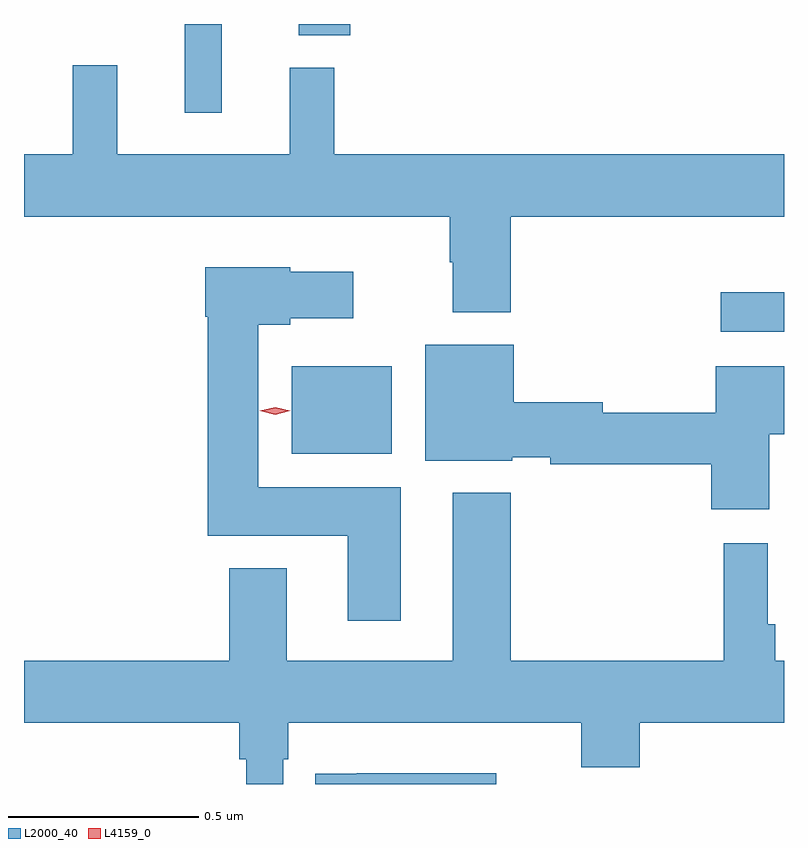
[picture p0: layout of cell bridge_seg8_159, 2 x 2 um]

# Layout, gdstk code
import gdstk
lib = gdstk.Library(unit=1e-6, precision=1e-09)
def R(c, l, rs):  # rectangles x0, y0, x1, y1
    for r in rs: c.add(gdstk.rectangle(r[:2], r[2:], *l))
def P(c, l, *ps):  # polygons
    for p in ps: c.add(gdstk.Polygon(p, *l))
L2000_40 = (2000, 40)
L4159_0 = (4159, 0)

bridge_seg8_159 = lib.new_cell('bridge_seg8_159')
R(bridge_seg8_159, L2000_40, [(552.518,1133.192,552.781,1133.422), (553.647,1133.513,553.813,1133.617), (552.236,1134.09,552.333,1134.323), (552.536,1134.293,552.671,1134.323)])
P(bridge_seg8_159, L2000_40, [(553.094,1133.816),(553.813,1133.816),(553.813,1133.98),(552.629,1133.98),(552.629,1134.208),(552.512,1134.208),(552.512,1133.98),(552.059,1133.98),(552.059,1134.214),(551.941,1134.214),(551.941,1133.98),(551.813,1133.98),(551.813,1133.816),(552.934,1133.816),(552.934,1133.696),(552.941,1133.696),(552.941,1133.564),(553.094,1133.564)],
  [(552.805,1133.104),(552.43,1133.104),(552.43,1133.531),(552.513,1133.531),(552.513,1133.549),(552.679,1133.549),(552.679,1133.671),(552.513,1133.671),(552.513,1133.683),(552.29,1133.683),(552.29,1133.553),(552.296,1133.553),(552.296,1132.976),(552.665,1132.976),(552.665,1132.752),(552.805,1132.752)],
  [(553.774,1133.243),(553.813,1133.243),(553.813,1133.422),(553.634,1133.422),(553.634,1133.3),(553.336,1133.3),(553.336,1133.327),(553.102,1133.327),(553.102,1133.479),(552.869,1133.479),(552.869,1133.174),(553.098,1133.174),(553.098,1133.183),(553.198,1133.183),(553.198,1133.164),(553.622,1133.164),(553.622,1133.046),(553.774,1133.046)],
  [(552.495,1132.388),(552.509,1132.388),(552.509,1132.484),(553.28,1132.484),(553.28,1132.367),(553.433,1132.367),(553.433,1132.484),(553.813,1132.484),(553.813,1132.648),(553.79,1132.648),(553.79,1132.744),(553.77,1132.744),(553.77,1132.957),(553.654,1132.957),(553.654,1132.648),(553.094,1132.648),(553.094,1133.089),(552.941,1133.089),(552.941,1132.648),(552.505,1132.648),(552.505,1132.891),(552.353,1132.891),(552.353,1132.648),(551.813,1132.648),(551.813,1132.484),(552.379,1132.484),(552.379,1132.388),(552.398,1132.388),(552.398,1132.323),(552.495,1132.323)],
  [(553.056,1132.351),(552.688,1132.351),(552.688,1132.35),(552.58,1132.35),(552.58,1132.323),(553.056,1132.323)])
P(bridge_seg8_159, L4159_0, [(552.474,1133.295),(552.433,1133.305),(552.432,1133.305),(552.433,1133.305),(552.474,1133.315),(552.514,1133.305),(552.514,1133.305),(552.514,1133.305)])

lib.write_gds('bridge_seg8_159.gds')
